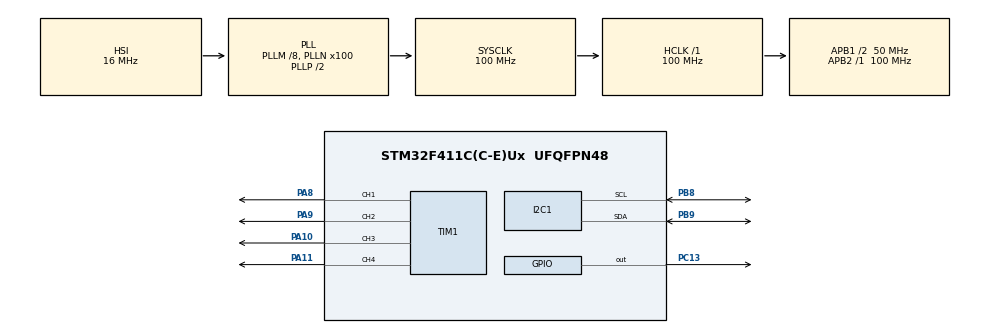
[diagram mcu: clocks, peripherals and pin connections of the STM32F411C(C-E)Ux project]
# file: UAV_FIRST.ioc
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Mcu.Family=STM32F4
Mcu.Name=STM32F411C(C-E)Ux
Mcu.Package=UFQFPN48
NVIC.PriorityGroup=NVIC_PRIORITYGROUP_4
PA10.Signal=S_TIM1_CH3
PA11.Signal=S_TIM1_CH4
PA13.Mode=Serial_Wire
PA13.Signal=SYS_JTMS-SWDIO
PA14.Mode=Serial_Wire
PA14.Signal=SYS_JTCK-SWCLK
PA8.Signal=S_TIM1_CH1
PA9.Signal=S_TIM1_CH2
PB8.Mode=I2C
PB8.Signal=I2C1_SCL
PB9.Mode=I2C
PB9.Signal=I2C1_SDA
PC13-ANTI_TAMP.Signal=GPIO_Output
PH0\ -\ OSC_IN.Mode=HSE-External-Oscillator
PH0\ -\ OSC_IN.Signal=RCC_OSC_IN
PH1\ -\ OSC_OUT.Mode=HSE-External-Oscillator
PH1\ -\ OSC_OUT.Signal=RCC_OSC_OUT
ProjectManager.HeapSize=0x200
ProjectManager.StackSize=0x400
ProjectManager.TargetToolchain=STM32CubeIDE
RCC.48MHZClocksFreq_Value=50000000
RCC.AHBFreq_Value=100000000
RCC.APB1CLKDivider=RCC_HCLK_DIV2
RCC.APB1Freq_Value=50000000
RCC.APB1TimFreq_Value=100000000
RCC.APB2Freq_Value=100000000
RCC.APB2TimFreq_Value=100000000
RCC.CortexFreq_Value=100000000
RCC.HCLKFreq_Value=100000000
RCC.HSE_VALUE=25000000
RCC.HSI_VALUE=16000000
RCC.LSE_VALUE=32768
RCC.PLLM=8
RCC.PLLN=100
RCC.SYSCLKFreq_VALUE=100000000
RCC.SYSCLKSource=RCC_SYSCLKSOURCE_PLLCLK
RCC.VCOOutputFreq_Value=200000000
SH.S_TIM1_CH1.0=TIM1_CH1,PWM Generation1 CH1
SH.S_TIM1_CH2.0=TIM1_CH2,PWM Generation2 CH2
SH.S_TIM1_CH3.0=TIM1_CH3,PWM Generation3 CH3
SH.S_TIM1_CH4.0=TIM1_CH4,PWM Generation4 CH4
TIM1.Channel-PWM\ Generation1\ CH1=TIM_CHANNEL_1
TIM1.Channel-PWM\ Generation2\ CH2=TIM_CHANNEL_2
TIM1.Channel-PWM\ Generation3\ CH3=TIM_CHANNEL_3
TIM1.Channel-PWM\ Generation4\ CH4=TIM_CHANNEL_4
board=custom

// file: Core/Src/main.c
/* USER CODE BEGIN Header */
/**
  ******************************************************************************
  * @file           : main.c
  * @brief          : Main program body
  ******************************************************************************
  * @attention
  *
  * Copyright (c) 2025 STMicroelectronics.
  * All rights reserved.
  *
  * This software is licensed under terms that can be found in the LICENSE file
  * in the root directory of this software component.
  * If no LICENSE file comes with this software, it is provided AS-IS.
  *
  ******************************************************************************
  */
/* USER CODE END Header */
#include "main.h"
#include "math.h"

/* USER CODE BEGIN Includes */

#include "MPU6050.h"

/* USER CODE END Includes */

I2C_HandleTypeDef hi2c1;

TIM_HandleTypeDef htim1;

void SystemClock_Config(void);
static void MX_GPIO_Init(void);
static void MX_I2C1_Init(void);
static void MX_TIM1_Init(void);

/* USER CODE BEGIN 0 */

MPU6050_t MPU6050;

void UAV_Init(void)
{
	//Start 4 PWM channel off timer1
	HAL_TIM_PWM_Start(&htim1, TIM_CHANNEL_1);
	HAL_TIM_PWM_Start(&htim1, TIM_CHANNEL_2);
	HAL_TIM_PWM_Start(&htim1, TIM_CHANNEL_3);
	HAL_TIM_PWM_Start(&htim1, TIM_CHANNEL_4);

	//Set parameter of timer1
	htim1.Instance->ARR = 19999;
	htim1.Instance->PSC = 99;

	//Set initial speed of motor;
	htim1.Instance->CCR1 = 1000;
	htim1.Instance->CCR2 = 1000;
	htim1.Instance->CCR3 = 1000;
	htim1.Instance->CCR4 = 1000;

	//UAV_Motor_Init(&htim1);

	//Init MPU 6050
	while(MPU6050_Init())
	{

	}

	MPU6050_Read_All(&MPU6050);

	HAL_Delay(5000);

	//PID_Init(&MPU6050);

}

/* USER CODE END 0 */

int main(void)
{

  /* MCU Configuration--------------------------------------------------------*/

  /* Reset of all peripherals, Initializes the Flash interface and the Systick. */
  HAL_Init();

  /* Configure the system clock */
  SystemClock_Config();

  /* Initialize all configured peripherals */
  MX_GPIO_Init();
  MX_I2C1_Init();
  MX_TIM1_Init();
  /* USER CODE BEGIN 2 */

  UAV_Init();

  /* USER CODE END 2 */

  /* Infinite loop */
  /* USER CODE BEGIN WHILE */
  while (1)
  {
	  MPU6050_Read_All(&MPU6050);

    /* USER CODE END WHILE */

  }
}

void SystemClock_Config(void)
{
  RCC_OscInitTypeDef RCC_OscInitStruct = {0};
  RCC_ClkInitTypeDef RCC_ClkInitStruct = {0};

  /** Configure the main internal regulator output voltage
  */
  __HAL_RCC_PWR_CLK_ENABLE();
  __HAL_PWR_VOLTAGESCALING_CONFIG(PWR_REGULATOR_VOLTAGE_SCALE1);

  /** Initializes the RCC Oscillators according to the specified parameters
  * in the RCC_OscInitTypeDef structure.
  */
  RCC_OscInitStruct.OscillatorType = RCC_OSCILLATORTYPE_HSI;
  RCC_OscInitStruct.HSIState = RCC_HSI_ON;
  RCC_OscInitStruct.HSICalibrationValue = RCC_HSICALIBRATION_DEFAULT;
  RCC_OscInitStruct.PLL.PLLState = RCC_PLL_ON;
  RCC_OscInitStruct.PLL.PLLSource = RCC_PLLSOURCE_HSI;
  RCC_OscInitStruct.PLL.PLLM = 8;
  RCC_OscInitStruct.PLL.PLLN = 100;
  RCC_OscInitStruct.PLL.PLLP = RCC_PLLP_DIV2;
  RCC_OscInitStruct.PLL.PLLQ = 4;
  if (HAL_RCC_OscConfig(&RCC_OscInitStruct) != HAL_OK)
  {
    Error_Handler();
  }

  /** Initializes the CPU, AHB and APB buses clocks
  */
  RCC_ClkInitStruct.ClockType = RCC_CLOCKTYPE_HCLK|RCC_CLOCKTYPE_SYSCLK
                              |RCC_CLOCKTYPE_PCLK1|RCC_CLOCKTYPE_PCLK2;
  RCC_ClkInitStruct.SYSCLKSource = RCC_SYSCLKSOURCE_PLLCLK;
  RCC_ClkInitStruct.AHBCLKDivider = RCC_SYSCLK_DIV1;
  RCC_ClkInitStruct.APB1CLKDivider = RCC_HCLK_DIV2;
  RCC_ClkInitStruct.APB2CLKDivider = RCC_HCLK_DIV1;

  if (HAL_RCC_ClockConfig(&RCC_ClkInitStruct, FLASH_LATENCY_3) != HAL_OK)
  {
    Error_Handler();
  }
}

static void MX_I2C1_Init(void)
{

  hi2c1.Instance = I2C1;
  hi2c1.Init.ClockSpeed = 100000;
  hi2c1.Init.DutyCycle = I2C_DUTYCYCLE_2;
  hi2c1.Init.OwnAddress1 = 0;
  hi2c1.Init.AddressingMode = I2C_ADDRESSINGMODE_7BIT;
  hi2c1.Init.DualAddressMode = I2C_DUALADDRESS_DISABLE;
  hi2c1.Init.OwnAddress2 = 0;
  hi2c1.Init.GeneralCallMode = I2C_GENERALCALL_DISABLE;
  hi2c1.Init.NoStretchMode = I2C_NOSTRETCH_DISABLE;
  if (HAL_I2C_Init(&hi2c1) != HAL_OK)
  {
    Error_Handler();
  }

}

static void MX_TIM1_Init(void)
{

  TIM_MasterConfigTypeDef sMasterConfig = {0};
  TIM_OC_InitTypeDef sConfigOC = {0};
  TIM_BreakDeadTimeConfigTypeDef sBreakDeadTimeConfig = {0};

  htim1.Instance = TIM1;
  htim1.Init.Prescaler = 0;
  htim1.Init.CounterMode = TIM_COUNTERMODE_UP;
  htim1.Init.Period = 65535;
  htim1.Init.ClockDivision = TIM_CLOCKDIVISION_DIV1;
  htim1.Init.RepetitionCounter = 0;
  htim1.Init.AutoReloadPreload = TIM_AUTORELOAD_PRELOAD_DISABLE;
  if (HAL_TIM_PWM_Init(&htim1) != HAL_OK)
  {
    Error_Handler();
  }
  sMasterConfig.MasterOutputTrigger = TIM_TRGO_RESET;
  sMasterConfig.MasterSlaveMode = TIM_MASTERSLAVEMODE_DISABLE;
  if (HAL_TIMEx_MasterConfigSynchronization(&htim1, &sMasterConfig) != HAL_OK)
  {
    Error_Handler();
  }
  sConfigOC.OCMode = TIM_OCMODE_PWM1;
  sConfigOC.Pulse = 0;
  sConfigOC.OCPolarity = TIM_OCPOLARITY_HIGH;
  sConfigOC.OCNPolarity = TIM_OCNPOLARITY_HIGH;
  sConfigOC.OCFastMode = TIM_OCFAST_DISABLE;
  sConfigOC.OCIdleState = TIM_OCIDLESTATE_RESET;
  sConfigOC.OCNIdleState = TIM_OCNIDLESTATE_RESET;
  if (HAL_TIM_PWM_ConfigChannel(&htim1, &sConfigOC, TIM_CHANNEL_1) != HAL_OK)
  {
    Error_Handler();
  }
  if (HAL_TIM_PWM_ConfigChannel(&htim1, &sConfigOC, TIM_CHANNEL_2) != HAL_OK)
  {
    Error_Handler();
  }
  if (HAL_TIM_PWM_ConfigChannel(&htim1, &sConfigOC, TIM_CHANNEL_3) != HAL_OK)
  {
    Error_Handler();
  }
  if (HAL_TIM_PWM_ConfigChannel(&htim1, &sConfigOC, TIM_CHANNEL_4) != HAL_OK)
  {
    Error_Handler();
  }
  sBreakDeadTimeConfig.OffStateRunMode = TIM_OSSR_DISABLE;
  sBreakDeadTimeConfig.OffStateIDLEMode = TIM_OSSI_DISABLE;
  sBreakDeadTimeConfig.LockLevel = TIM_LOCKLEVEL_OFF;
  sBreakDeadTimeConfig.DeadTime = 0;
  sBreakDeadTimeConfig.BreakState = TIM_BREAK_DISABLE;
  sBreakDeadTimeConfig.BreakPolarity = TIM_BREAKPOLARITY_HIGH;
  sBreakDeadTimeConfig.AutomaticOutput = TIM_AUTOMATICOUTPUT_DISABLE;
  if (HAL_TIMEx_ConfigBreakDeadTime(&htim1, &sBreakDeadTimeConfig) != HAL_OK)
  {
    Error_Handler();
  }
  HAL_TIM_MspPostInit(&htim1);

}

static void MX_GPIO_Init(void)
{
  GPIO_InitTypeDef GPIO_InitStruct = {0};

  /* GPIO Ports Clock Enable */
  __HAL_RCC_GPIOC_CLK_ENABLE();
  __HAL_RCC_GPIOH_CLK_ENABLE();
  __HAL_RCC_GPIOA_CLK_ENABLE();
  __HAL_RCC_GPIOB_CLK_ENABLE();

  /*Configure GPIO pin Output Level */
  HAL_GPIO_WritePin(GPIOC, GPIO_PIN_13, GPIO_PIN_RESET);

  /*Configure GPIO pin : PC13 */
  GPIO_InitStruct.Pin = GPIO_PIN_13;
  GPIO_InitStruct.Mode = GPIO_MODE_OUTPUT_PP;
  GPIO_InitStruct.Pull = GPIO_NOPULL;
  GPIO_InitStruct.Speed = GPIO_SPEED_FREQ_LOW;
  HAL_GPIO_Init(GPIOC, &GPIO_InitStruct);

}

void Error_Handler(void)
{
  __disable_irq();
  while (1)
  {
  }
}
